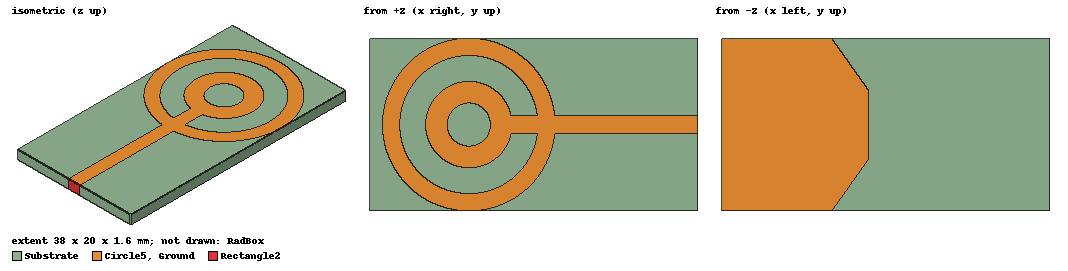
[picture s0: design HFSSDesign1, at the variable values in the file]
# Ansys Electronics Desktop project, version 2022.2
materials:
  vacuum: permittivity=1
  FR4_epoxy: permittivity=4.4 dielectric_loss_tangent=0.02
  air: permittivity=1.0006 permeability=1.0000004

design HFSSDesign1 (HFSS, DrivenModal, model units mm)
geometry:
  Substrate [FR4_epoxy] = box(corner=(-18mm, -10mm, -0.8mm), size=(38mm, 20mm, 1.6mm))
  Patch = rectangle(corner=(-4mm, -1mm, 0.8mm), x_size=24mm, y_size=2mm)
  Rectangle2 = rectangle(corner=(20mm, -1mm, -0.8mm), y_size=2mm, z_size=1.6mm)
  Ground = rectangle(corner=(3mm, -10mm, -0.8mm), x_size=17mm, y_size=20mm)
  Circle3 = circle(normal=Z, centre=(-6.5mm, 0mm, 0.8mm), radius=5mm)
  Circle4 = circle(normal=Z, centre=(-6.5mm, 0mm, 0.8mm), radius=2.5mm)
  Circle3.subtract(Circle4)
  Patch.unite(Circle3)
  Circle5 = circle(normal=Z, centre=(-6.5mm, 0mm, 0.8mm), radius=10mm)
  Circle6 = circle(normal=Z, centre=(-6.5mm, 0mm, 0.8mm), radius=8mm)
  Circle5.subtract(Circle6)
  Circle5.unite(Patch)
  Polyline1 = polyline(z=-0.8mm, xy in mm: (3, -10) (7.25, -10) (3, -4) (3, -10), closed, covered)
  Polyline2 = polyline(z=-0.8mm, xy in mm: (3, 10) (7.25, 10) (3, 4) (3, 10), closed, covered)
  Ground.subtract(Polyline1, Polyline2)
  RadBox [air] = box(corner=(-37.5mm, -27.5mm, -17.5mm), size=(75mm, 55mm, 35mm))
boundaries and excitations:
  PerfE1: Perfect E Objects=[Circle5, Ground]
  Rad1: Radiation Objects=RadBox
  1: Lumped Port Objects=Rectangle2 Modes{Mode1{IntLine{(20, 0, -0.8) -> (20, 0, 0.8)} CharImp=Zpi RenormImp=50ohm}} Impedance=50ohm
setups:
  Setup1: HfssDriven MultipleAdaptiveFreqsSetup{Low=2GHz High=9GHz} MaxDeltaS=0.02 MaximumPasses=6 MinimumPasses=1 MinimumConvergedPasses=1 PercentRefinement=30 BasisOrder=1 PortAccuracy=2 DrivenSolverType="Direct Solver"
    sweep Sweep: 2GHz to 9GHz, 100 points; Type=Interpolating SaveFields SaveRadFields InterpTolerance=0.5 InterpMaxSolns=250 InterpUsePortImped=false PassivityErrorTolerance=0.0001
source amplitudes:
  1:1: 1W 0deg
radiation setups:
  Infinite Sphere1: Infinite Sphere Theta=-180deg..180deg step 10deg Phi=0deg..90deg step 90deg
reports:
  S Parameter Plot 1: dB(S(1,1)) vs Freq on Setup1 : Sweep
  Gain Plot 1: dB(GainTotal) vs Freq on Setup1 : Sweep, Infinite Sphere1 [Phi=0deg Theta=0deg]
  Gain Plot 2: dB(GainTotal) vs Theta on Setup1 : LastAdaptive, Infinite Sphere1 [Phi=all Freq=5.5GHz]
